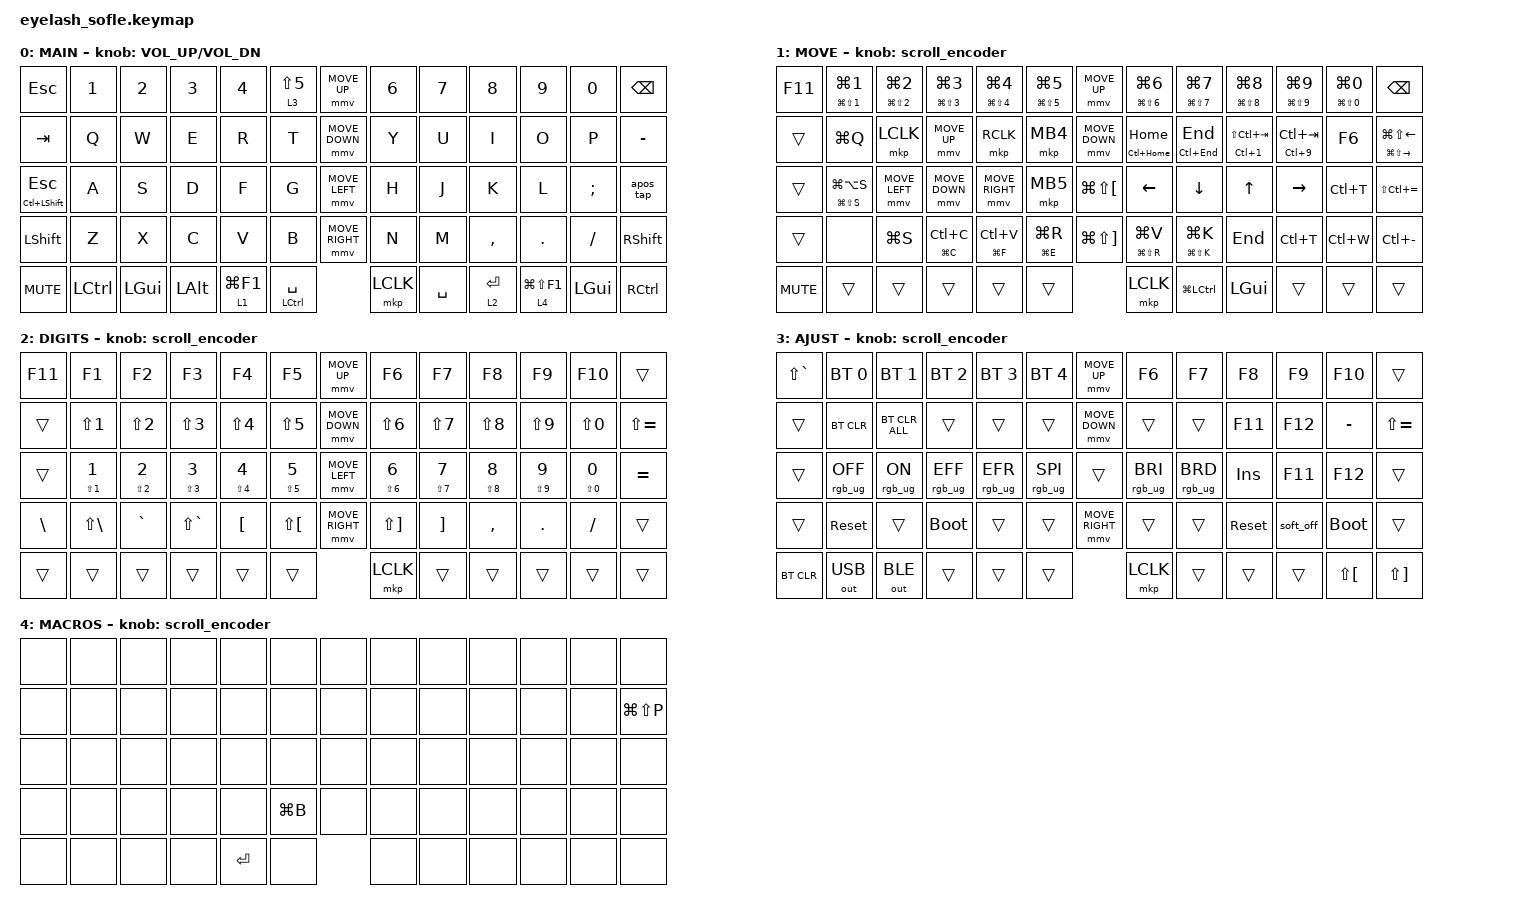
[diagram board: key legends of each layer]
#define ZMK_POINTING_DEFAULT_MOVE_VAL 720

// Скорость колеса на энкодере задаётся параметром &enc_wheel в scroll_encoder
// (шагов за тик; 20 тиков на оборот). &msc здесь больше не используется.

#include <input/processors.dtsi>
#include <zephyr/dt-bindings/input/input-event-codes.h>
#include <behaviors.dtsi>
#include <dt-bindings/zmk/bt.h>
#include <dt-bindings/zmk/keys.h>
#include <dt-bindings/zmk/outputs.h>
#include <dt-bindings/zmk/pointing.h>
#include <dt-bindings/zmk/rgb.h>

#define AS(keycode) &as LS(keycode) keycode

&mmv_input_listener { input-processors = <&zip_xy_scaler 4 1>; };


&msc {
    acceleration-exponent = <1>;      // 0
    time-to-max-speed-ms = <100>;       // 300
    delay-ms = <0>;                   // 0
};

&mmv {
    time-to-max-speed-ms = <500>;
    acceleration-exponent = <2>;
    trigger-period-ms = <16>;
};

&soft_off { hold-time-ms = <2000>; };

/ {
    scroll_encoder: scroll_encoder {
        compatible = "zmk,behavior-sensor-rotate";
        #sensor-binding-cells = <0>;
        bindings = <&enc_wheel (-2)>, <&enc_wheel 2>;

        // enc_wheel шлёт колесо мгновенно на press: длинная пауза не нужна.
        // 100 мс создавали очередь из десятков тиков (val1: -9 пачками) —
        // отсюда пропуски и запаздывание смены направления.
        tap-ms = <1>;
    };
    behaviors {
        enc_wheel: enc_wheel {
            compatible = "zmk,behavior-enc-wheel";
            #binding-cells = <1>;
        };
        lt_tab: lt_tab {
            compatible = "zmk,behavior-hold-tap";
            #binding-cells = <2>;
            flavor = "tap-preferred";
            tapping-term-ms = <200>;
            bindings = <&mo>, <&kp>;
            display-name = "Layer-Tap";
        };
        as: auto_shift {
            compatible = "zmk,behavior-hold-tap";
            #binding-cells = <2>;
            tapping-term-ms = <200>;
            flavor = "tap-preferred";
            bindings = <&kp>, <&kp>;
        };
        apos_tap: apos_tap {
            compatible = "zmk,behavior-tap-dance";
            #binding-cells = <0>;
            tapping-term-ms = <200>;
            bindings = <&kp APOS>, <&kp LBKT>, <&kp RBKT>;
        };
        shot_tap: shot_tap {
            compatible = "zmk,behavior-hold-tap";
            #binding-cells = <2>;
            flavor = "tap-preferred";
            tapping-term-ms = <200>;
            bindings = <&kp>, <&kp>;
            display-name = "Screenshot";
        };
    };
    combos {
        compatible = "zmk,combos";

        softoff {
            bindings = <&soft_off>;
            key-positions = <14 28 40>;
        };
    };


    keymap {
        compatible = "zmk,keymap";

        layer0 {
            bindings = <
&kp ESC &kp N1 &kp N2 &kp N3 &kp N4 &lt_tab 3 LS(N5) &mmv MOVE_UP &kp N6 &kp N7 &kp N8 &kp N9 &kp N0 &kp BACKSPACE
&kp TAB &kp Q &kp W &kp E &kp R &kp T &mmv MOVE_DOWN &kp Y &kp U &kp I &kp O &kp P &kp MINUS
&mt LC(LEFT_SHIFT) ESC &kp A &kp S &kp D &kp F &kp G &mmv MOVE_LEFT &kp H &kp J &kp K &kp L &kp SEMICOLON &apos_tap
&kp LEFT_SHIFT &kp Z &kp X &kp C &kp V &kp B &mmv MOVE_RIGHT &kp N &kp M &kp COMMA &kp PERIOD &kp SLASH &kp RIGHT_SHIFT
&kp C_MUTE &kp LEFT_CONTROL &kp LEFT_GUI &kp LEFT_ALT &lt_tab 1 LG(F1) &mt LEFT_CONTROL SPACE &mkp LCLK &kp SPACE &lt_tab 2 ENTER &lt_tab 4 LG(LS(F1)) &kp LEFT_GUI &kp RIGHT_CONTROL
            >;

            sensor-bindings = <&inc_dec_kp C_VOLUME_UP C_VOL_DN>;
            display-name = "MAIN";
        };

        layer_1 {
            bindings = <
&kp F11 &mt LG(LS(N1)) LG(N1) &mt LG(LS(N2)) LG(N2) &mt LG(LS(N3)) LG(N3) &mt LG(LS(N4)) LG(N4) &mt LG(LS(N5)) LG(N5) &mmv MOVE_UP &mt LG(LS(N6)) LG(N6) &mt LG(LS(N7)) LG(N7) &mt LG(LS(N8)) LG(N8) &mt LG(LS(N9)) LG(N9) &mt LG(LS(N0)) LG(N0) &kp BACKSPACE
&trans &kp LG(Q) &mkp LCLK &mmv MOVE_UP &mkp RCLK &mkp MB4 &mmv MOVE_DOWN &mt LC(HOME) HOME &mt LC(END) END &mt LC(N1) LS(LC(TAB)) &mt LC(N9) LC(TAB) &kp F6 &mt LG(LS(RIGHT)) LG(LS(LEFT))
&trans &shot_tap LG(LS(S)) LG(LA(S)) &mmv MOVE_LEFT &mmv MOVE_DOWN &mmv MOVE_RIGHT &mkp MB5 &kp LG(LS(LEFT_BRACKET)) &kp LEFT &kp DOWN &kp UP &kp RIGHT &kp LC(T) &kp LS(LC(EQUAL))
&trans &none &kp LG(S) &shot_tap LG(C) LC(C) &shot_tap LG(F) LC(V) &shot_tap LG(E) LG(R) &kp LG(LS(RIGHT_BRACKET)) &mt LG(LS(R)) LG(V) &mt LG(LS(K)) LG(K) &kp END &kp LC(T) &kp LC(W) &kp LC(MINUS)
&kp C_MUTE &trans &trans &trans &trans &trans &mkp LCLK &kp LG(LEFT_CONTROL) &kp LEFT_GUI &trans &trans &trans
            >;

            display-name = "MOVE";
            sensor-bindings = <&scroll_encoder>;
        };

        layer_2 {
            bindings = <
&kp F11 &kp F1 &kp F2 &kp F3 &kp F4 &kp F5 &mmv MOVE_UP &kp F6 &kp F7 &kp F8 &kp F9 &kp F10 &trans
&trans &kp LS(N1) &kp LS(N2) &kp LS(N3) &kp LS(N4) &kp LS(N5) &mmv MOVE_DOWN &kp LS(N6) &kp LS(N7) &kp LS(N8) &kp LS(N9) &kp LS(N0) &kp LS(EQUAL)
&trans &as LS(N1) N1 &as LS(N2) N2 &as LS(N3) N3 &as LS(N4) N4 &as LS(N5) N5 &mmv MOVE_LEFT &as LS(N6) N6 &as LS(N7) N7 &as LS(N8) N8 &as LS(N9) N9 &as LS(N0) N0 &kp EQUAL
&kp BACKSLASH &kp LS(BACKSLASH) &kp GRAVE &kp LS(GRAVE) &kp LEFT_BRACKET &kp LS(LEFT_BRACKET) &mmv MOVE_RIGHT &kp LS(RIGHT_BRACKET) &kp RIGHT_BRACKET &kp COMMA &kp PERIOD &kp SLASH &trans
&trans &trans &trans &trans &trans &trans &mkp LCLK &trans &trans &trans &trans &trans
            >;

            display-name = "DIGITS";
            sensor-bindings = <&scroll_encoder>;
        };

        layer_3 {
            bindings = <
&kp LS(GRAVE) &bt BT_SEL 0 &bt BT_SEL 1 &bt BT_SEL 2 &bt BT_SEL 3 &bt BT_SEL 4 &mmv MOVE_UP &kp F6 &kp F7 &kp F8 &kp F9 &kp F10 &trans
&trans &bt BT_CLR &bt BT_CLR_ALL &trans &trans &trans &mmv MOVE_DOWN &trans &trans &kp F11 &kp F12 &kp MINUS &kp LS(EQUAL)
&trans &rgb_ug RGB_OFF &rgb_ug RGB_ON &rgb_ug RGB_EFF &rgb_ug RGB_EFR &rgb_ug RGB_SPI &trans &rgb_ug RGB_BRI &rgb_ug RGB_BRD &kp INSERT &kp F11 &kp F12 &trans
&trans &sys_reset &trans &bootloader &trans &trans &mmv MOVE_RIGHT &trans &trans &sys_reset &soft_off &bootloader &trans
&bt BT_CLR &out OUT_USB &out OUT_BLE &trans &trans &trans &mkp LCLK &trans &trans &trans &kp LS(LEFT_BRACKET) &kp LS(RIGHT_BRACKET)
            >;

            display-name = "AJUST";
            sensor-bindings = <&scroll_encoder>;
        };

        layer_4 {
            bindings = <
&none &none &none &none &none &none &none &none &none &none &none &none &none
&none &none &none &none &none &none &none &none &none &none &none &none &kp LG(LS(P))
&none &none &none &none &none &none &none &none &none &none &none &none &none
&none &none &none &none &none &kp LG(B) &none &none &none &none &none &none &none
&none &none &none &none &kp ENTER &none &none &none &none &none &none &none
            >;

            display-name = "MACROS";
            sensor-bindings = <&scroll_encoder>;
        };
    };
};
